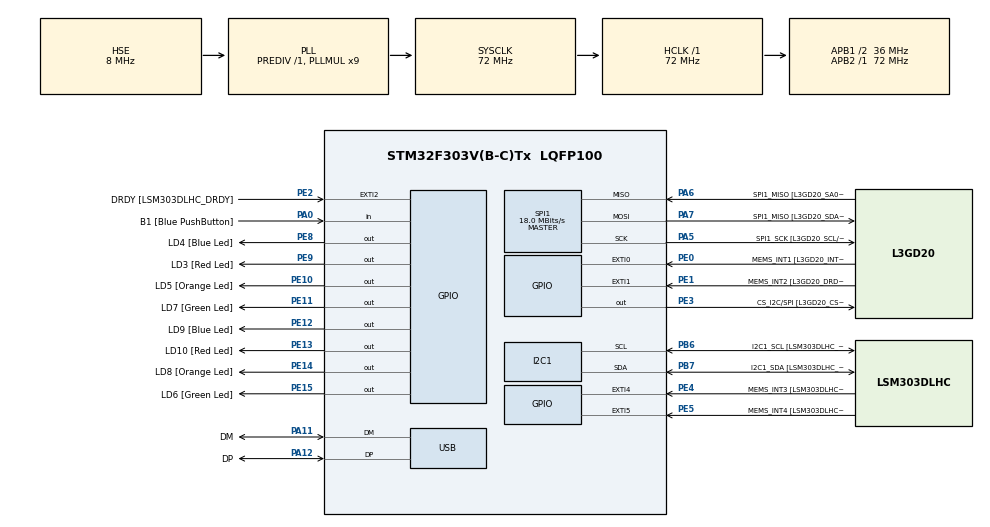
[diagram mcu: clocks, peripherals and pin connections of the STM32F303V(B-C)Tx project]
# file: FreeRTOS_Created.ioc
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FREERTOS.Tasks01=defaultTask,0,128,StartDefaultTask,Default,NULL,Dynamic,NULL,NULL
I2C1.Timing-I2C=0x2000090E
Mcu.Family=STM32F3
Mcu.Name=STM32F303V(B-C)Tx
Mcu.Package=LQFP100
NVIC.PriorityGroup=NVIC_PRIORITYGROUP_4
NVIC.TIM3_IRQn=true\:0\:0\:false\:false\:true\:false\:false\:true
NVIC.TimeBase=TIM3_IRQn
NVIC.TimeBaseIP=TIM3
PA0.GPIO_Label=B1 [Blue PushButton]
PA0.Signal=GPIO_Input
PA11.GPIO_Label=DM
PA11.Mode=Device
PA11.Signal=USB_DM
PA12.GPIO_Label=DP
PA12.Mode=Device
PA12.Signal=USB_DP
PA13.GPIO_Label=SWDIO
PA13.Mode=Serial_Wire
PA13.Signal=SYS_JTMS-SWDIO
PA14.GPIO_Label=SWCLK
PA14.Mode=Serial_Wire
PA14.Signal=SYS_JTCK-SWCLK
PA5.GPIO_Label=SPI1_SCK [L3GD20_SCL/SPC]
PA5.Mode=Full_Duplex_Master
PA5.Signal=SPI1_SCK
PA6.GPIO_Label=SPI1_MISO [L3GD20_SA0/SDO]
PA6.Mode=Full_Duplex_Master
PA6.Signal=SPI1_MISO
PA7.GPIO_Label=SPI1_MISO [L3GD20_SDA/SDI/SDO]
PA7.Mode=Full_Duplex_Master
PA7.Signal=SPI1_MOSI
PB3.GPIO_Label=SWO
PB3.Signal=SYS_JTDO-TRACESWO
PB6.GPIO_Label=I2C1_SCL [LSM303DLHC_SCL]
PB6.Mode=I2C
PB6.Signal=I2C1_SCL
PB7.GPIO_Label=I2C1_SDA [LSM303DLHC_SDA]
PB7.Mode=I2C
PB7.Signal=I2C1_SDA
PC14-OSC32_IN.GPIO_Label=OSC32_IN
PC14-OSC32_IN.Signal=RCC_OSC32_IN
PC15-OSC32_OUT.GPIO_Label=OSC32_OUT
PC15-OSC32_OUT.Signal=RCC_OSC32_OUT
PE0.GPIO_Label=MEMS_INT1 [L3GD20_INT1]
PE0.GPIO_ModeDefaultEXTI=GPIO_MODE_EVT_RISING
PE0.Signal=GPXTI0
PE1.GPIO_Label=MEMS_INT2 [L3GD20_DRDY/INT2]
PE1.GPIO_ModeDefaultEXTI=GPIO_MODE_EVT_RISING
PE1.Signal=GPXTI1
PE10.GPIO_Label=LD5 [Orange Led]
PE10.Signal=GPIO_Output
PE11.GPIO_Label=LD7 [Green Led]
PE11.Signal=GPIO_Output
PE12.GPIO_Label=LD9 [Blue Led]
PE12.Signal=GPIO_Output
PE13.GPIO_Label=LD10 [Red Led]
PE13.Signal=GPIO_Output
PE14.GPIO_Label=LD8 [Orange Led]
PE14.Signal=GPIO_Output
PE15.GPIO_Label=LD6 [Green Led]
PE15.Signal=GPIO_Output
PE2.GPIO_Label=DRDY [LSM303DLHC_DRDY]
PE2.GPIO_ModeDefaultEXTI=GPIO_MODE_EVT_RISING
PE2.Signal=GPXTI2
PE3.GPIO_Label=CS_I2C/SPI [L3GD20_CS_I2C/SPI]
PE3.Signal=GPIO_Output
PE4.GPIO_Label=MEMS_INT3 [LSM303DLHC_INT1]
PE4.GPIO_ModeDefaultEXTI=GPIO_MODE_EVT_RISING
PE4.Signal=GPXTI4
PE5.GPIO_Label=MEMS_INT4 [LSM303DLHC_INT2]
PE5.GPIO_ModeDefaultEXTI=GPIO_MODE_EVT_RISING
PE5.Signal=GPXTI5
PE8.GPIO_Label=LD4 [Blue Led]
PE8.Signal=GPIO_Output
PE9.GPIO_Label=LD3 [Red Led]
PE9.Signal=GPIO_Output
PF0-OSC_IN.GPIO_Label=OSC_IN
PF0-OSC_IN.Mode=HSE-External-Clock-Source
PF0-OSC_IN.Signal=RCC_OSC_IN
PF1-OSC_OUT.GPIO_Label=OSC_OUT
PF1-OSC_OUT.Signal=RCC_OSC_OUT
ProjectManager.HeapSize=0x800
ProjectManager.StackSize=0x800
ProjectManager.TargetToolchain=MDK-ARM V5.27
RCC.AHBFreq_Value=72000000
RCC.APB1CLKDivider=RCC_HCLK_DIV2
RCC.APB1Freq_Value=36000000
RCC.APB1TimFreq_Value=72000000
RCC.APB2Freq_Value=72000000
RCC.APB2TimFreq_Value=72000000
RCC.CortexFreq_Value=72000000
RCC.HCLKFreq_Value=72000000
RCC.HSE_VALUE=8000000
RCC.HSI_VALUE=8000000
RCC.LSE_VALUE=32768
RCC.PLLMUL=RCC_PLL_MUL9
RCC.PRESCALERUSB=RCC_USBCLKSOURCE_PLL_DIV1_5
RCC.SYSCLKFreq_VALUE=72000000
RCC.SYSCLKSourceVirtual=RCC_SYSCLKSOURCE_PLLCLK
RCC.USBFreq_Value=48000000
SPI1.BaudRatePrescaler=SPI_BAUDRATEPRESCALER_4
SPI1.BaudRatePrescaler-Full_Duplex_Master=SPI_BAUDRATEPRESCALER_2
SPI1.CalculateBaudRate=18.0 MBits/s
SPI1.CalculateBaudRate-Full_Duplex_Master=24.0 MBits/s
SPI1.Direction=SPI_DIRECTION_2LINES
SPI1.Mode=SPI_MODE_MASTER
SPI1.Mode-Full_Duplex_Master=SPI_MODE_MASTER
SPI1.VirtualType=VM_MASTER
VP_FREERTOS_VS_CMSIS_V1.Mode=CMSIS_V1
VP_SYS_VS_tim3.Mode=TIM3
board=STM32F3DISCOVERY

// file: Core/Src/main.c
/* USER CODE BEGIN Header */
/**
  ******************************************************************************
  * @file           : main.c
  * @brief          : Main program body
  ******************************************************************************
  * @attention
  *
  * <h2><center>&copy; Copyright (c) 2021 STMicroelectronics.
  * All rights reserved.</center></h2>
  *
  * This software component is licensed by ST under Ultimate Liberty license
  * SLA0044, the "License"; You may not use this file except in compliance with
  * the License. You may obtain a copy of the License at:
  *                             www.st.com/SLA0044
  *
  ******************************************************************************
  */
/* USER CODE END Header */
#include "main.h"

/* USER CODE BEGIN Includes */

//====================================================================================================

#include "FreeRTOS.h"
#include "task.h"

// ENTER TIM8 FOR FreeRTOS !!!!!! CubeMX -> SYS

//====================================================================================================

/* USER CODE END Includes */

I2C_HandleTypeDef hi2c1;

SPI_HandleTypeDef hspi1;

PCD_HandleTypeDef hpcd_USB_FS;

void SystemClock_Config(void);
static void MX_GPIO_Init(void);
static void MX_I2C1_Init(void);
static void MX_SPI1_Init(void);
static void MX_USB_PCD_Init(void);
/* USER CODE BEGIN PFP */

//====================================================================================================

// Blink LED_one
void vTaskCode_ONE( void * pvParameters );

// Blink LED_two
void vTaskCode_TWO( void * pvParameters );

//====================================================================================================

/* USER CODE END PFP */

int main(void)
{

  /* MCU Configuration--------------------------------------------------------*/

  /* Reset of all peripherals, Initializes the Flash interface and the Systick. */
  HAL_Init();

  /* Configure the system clock */
  SystemClock_Config();

  /* Initialize all configured peripherals */
  MX_GPIO_Init();
  MX_I2C1_Init();
  MX_SPI1_Init();
  MX_USB_PCD_Init();

  /* Infinite loop */
  /* USER CODE BEGIN WHILE */

  //=========================================================================================================

	BaseType_t xReturned_ONE = NULL;
	BaseType_t xReturned_TWO = NULL;

    /*========== Create the task, storing the handle. =================*/
    xReturned_ONE = xTaskCreate(
                    vTaskCode_ONE,       /* Function that implements the task. */
                    "ONE",          /* Text name for the task. */
                    50*4,      /* Stack size in words, not bytes. */
                    NULL,    /* Parameter passed into the task. */
                    tskIDLE_PRIORITY,/* Priority at which the task is created. */
                    NULL );      /* Used to pass out the created task's handle. */

    /*========= Create the task, storing the handle. =================*/
    xReturned_TWO = xTaskCreate(
                    vTaskCode_TWO,       /* Function that implements the task. */
                    "TWO",          /* Text name for the task. */
                    50*4,      /* Stack size in words, not bytes. */
                    NULL,    /* Parameter passed into the task. */
                    tskIDLE_PRIORITY,/* Priority at which the task is created. */
                    NULL );      /* Used to pass out the created task's handle. */

	//==  RUN TASKs ================================================
	vTaskStartScheduler();

  //=========================================================================================================

  while (1)
  {
    /* USER CODE END WHILE */

  }
}

void SystemClock_Config(void)
{
  RCC_OscInitTypeDef RCC_OscInitStruct = {0};
  RCC_ClkInitTypeDef RCC_ClkInitStruct = {0};
  RCC_PeriphCLKInitTypeDef PeriphClkInit = {0};

  /** Initializes the RCC Oscillators according to the specified parameters
  * in the RCC_OscInitTypeDef structure.
  */
  RCC_OscInitStruct.OscillatorType = RCC_OSCILLATORTYPE_HSI|RCC_OSCILLATORTYPE_HSE;
  RCC_OscInitStruct.HSEState = RCC_HSE_BYPASS;
  RCC_OscInitStruct.HSEPredivValue = RCC_HSE_PREDIV_DIV1;
  RCC_OscInitStruct.HSIState = RCC_HSI_ON;
  RCC_OscInitStruct.HSICalibrationValue = RCC_HSICALIBRATION_DEFAULT;
  RCC_OscInitStruct.PLL.PLLState = RCC_PLL_ON;
  RCC_OscInitStruct.PLL.PLLSource = RCC_PLLSOURCE_HSE;
  RCC_OscInitStruct.PLL.PLLMUL = RCC_PLL_MUL9;
  if (HAL_RCC_OscConfig(&RCC_OscInitStruct) != HAL_OK)
  {
    Error_Handler();
  }
  /** Initializes the CPU, AHB and APB buses clocks
  */
  RCC_ClkInitStruct.ClockType = RCC_CLOCKTYPE_HCLK|RCC_CLOCKTYPE_SYSCLK
                              |RCC_CLOCKTYPE_PCLK1|RCC_CLOCKTYPE_PCLK2;
  RCC_ClkInitStruct.SYSCLKSource = RCC_SYSCLKSOURCE_PLLCLK;
  RCC_ClkInitStruct.AHBCLKDivider = RCC_SYSCLK_DIV1;
  RCC_ClkInitStruct.APB1CLKDivider = RCC_HCLK_DIV2;
  RCC_ClkInitStruct.APB2CLKDivider = RCC_HCLK_DIV1;

  if (HAL_RCC_ClockConfig(&RCC_ClkInitStruct, FLASH_LATENCY_2) != HAL_OK)
  {
    Error_Handler();
  }
  PeriphClkInit.PeriphClockSelection = RCC_PERIPHCLK_USB|RCC_PERIPHCLK_I2C1;
  PeriphClkInit.I2c1ClockSelection = RCC_I2C1CLKSOURCE_HSI;
  PeriphClkInit.USBClockSelection = RCC_USBCLKSOURCE_PLL_DIV1_5;
  if (HAL_RCCEx_PeriphCLKConfig(&PeriphClkInit) != HAL_OK)
  {
    Error_Handler();
  }
}

static void MX_I2C1_Init(void)
{

  hi2c1.Instance = I2C1;
  hi2c1.Init.Timing = 0x2000090E;
  hi2c1.Init.OwnAddress1 = 0;
  hi2c1.Init.AddressingMode = I2C_ADDRESSINGMODE_7BIT;
  hi2c1.Init.DualAddressMode = I2C_DUALADDRESS_DISABLE;
  hi2c1.Init.OwnAddress2 = 0;
  hi2c1.Init.OwnAddress2Masks = I2C_OA2_NOMASK;
  hi2c1.Init.GeneralCallMode = I2C_GENERALCALL_DISABLE;
  hi2c1.Init.NoStretchMode = I2C_NOSTRETCH_DISABLE;
  if (HAL_I2C_Init(&hi2c1) != HAL_OK)
  {
    Error_Handler();
  }
  /** Configure Analogue filter
  */
  if (HAL_I2CEx_ConfigAnalogFilter(&hi2c1, I2C_ANALOGFILTER_ENABLE) != HAL_OK)
  {
    Error_Handler();
  }
  /** Configure Digital filter
  */
  if (HAL_I2CEx_ConfigDigitalFilter(&hi2c1, 0) != HAL_OK)
  {
    Error_Handler();
  }

}

static void MX_SPI1_Init(void)
{

  /* SPI1 parameter configuration*/
  hspi1.Instance = SPI1;
  hspi1.Init.Mode = SPI_MODE_MASTER;
  hspi1.Init.Direction = SPI_DIRECTION_2LINES;
  hspi1.Init.DataSize = SPI_DATASIZE_4BIT;
  hspi1.Init.CLKPolarity = SPI_POLARITY_LOW;
  hspi1.Init.CLKPhase = SPI_PHASE_1EDGE;
  hspi1.Init.NSS = SPI_NSS_SOFT;
  hspi1.Init.BaudRatePrescaler = SPI_BAUDRATEPRESCALER_4;
  hspi1.Init.FirstBit = SPI_FIRSTBIT_MSB;
  hspi1.Init.TIMode = SPI_TIMODE_DISABLE;
  hspi1.Init.CRCCalculation = SPI_CRCCALCULATION_DISABLE;
  hspi1.Init.CRCPolynomial = 7;
  hspi1.Init.CRCLength = SPI_CRC_LENGTH_DATASIZE;
  hspi1.Init.NSSPMode = SPI_NSS_PULSE_ENABLE;
  if (HAL_SPI_Init(&hspi1) != HAL_OK)
  {
    Error_Handler();
  }

}

static void MX_USB_PCD_Init(void)
{

  hpcd_USB_FS.Instance = USB;
  hpcd_USB_FS.Init.dev_endpoints = 8;
  hpcd_USB_FS.Init.speed = PCD_SPEED_FULL;
  hpcd_USB_FS.Init.phy_itface = PCD_PHY_EMBEDDED;
  hpcd_USB_FS.Init.low_power_enable = DISABLE;
  hpcd_USB_FS.Init.battery_charging_enable = DISABLE;
  if (HAL_PCD_Init(&hpcd_USB_FS) != HAL_OK)
  {
    Error_Handler();
  }

}

static void MX_GPIO_Init(void)
{
  GPIO_InitTypeDef GPIO_InitStruct = {0};

  /* GPIO Ports Clock Enable */
  __HAL_RCC_GPIOE_CLK_ENABLE();
  __HAL_RCC_GPIOC_CLK_ENABLE();
  __HAL_RCC_GPIOF_CLK_ENABLE();
  __HAL_RCC_GPIOA_CLK_ENABLE();
  __HAL_RCC_GPIOB_CLK_ENABLE();

  /*Configure GPIO pin Output Level */
  HAL_GPIO_WritePin(GPIOE, CS_I2C_SPI_Pin|LD4_Pin|LD3_Pin|LD5_Pin
                          |LD7_Pin|LD9_Pin|LD10_Pin|LD8_Pin
                          |LD6_Pin, GPIO_PIN_RESET);

  /*Configure GPIO pins : DRDY_Pin MEMS_INT3_Pin MEMS_INT4_Pin MEMS_INT1_Pin
                           MEMS_INT2_Pin */
  GPIO_InitStruct.Pin = DRDY_Pin|MEMS_INT3_Pin|MEMS_INT4_Pin|MEMS_INT1_Pin
                          |MEMS_INT2_Pin;
  GPIO_InitStruct.Mode = GPIO_MODE_EVT_RISING;
  GPIO_InitStruct.Pull = GPIO_NOPULL;
  HAL_GPIO_Init(GPIOE, &GPIO_InitStruct);

  /*Configure GPIO pins : CS_I2C_SPI_Pin LD4_Pin LD3_Pin LD5_Pin
                           LD7_Pin LD9_Pin LD10_Pin LD8_Pin
                           LD6_Pin */
  GPIO_InitStruct.Pin = CS_I2C_SPI_Pin|LD4_Pin|LD3_Pin|LD5_Pin
                          |LD7_Pin|LD9_Pin|LD10_Pin|LD8_Pin
                          |LD6_Pin;
  GPIO_InitStruct.Mode = GPIO_MODE_OUTPUT_PP;
  GPIO_InitStruct.Pull = GPIO_NOPULL;
  GPIO_InitStruct.Speed = GPIO_SPEED_FREQ_LOW;
  HAL_GPIO_Init(GPIOE, &GPIO_InitStruct);

  /*Configure GPIO pin : B1_Pin */
  GPIO_InitStruct.Pin = B1_Pin;
  GPIO_InitStruct.Mode = GPIO_MODE_INPUT;
  GPIO_InitStruct.Pull = GPIO_NOPULL;
  HAL_GPIO_Init(B1_GPIO_Port, &GPIO_InitStruct);

}

/* USER CODE BEGIN 4 */

//====================================================================================================

void vTaskCode_ONE( void * pvParameters )
{
    for( ;; )
    {
        HAL_GPIO_TogglePin( LD4_GPIO_Port, LD4_Pin );
		vTaskDelay( 2000 / portTICK_PERIOD_MS );
    }

	//vTaskDelete( NULL );
}

void vTaskCode_TWO( void * pvParameters )
{
    for( ;; )
    {
        HAL_GPIO_TogglePin( LD6_GPIO_Port, LD6_Pin );
		vTaskDelay( 100 / portTICK_PERIOD_MS );
    }

	//vTaskDelete( NULL );
}

//====================================================================================================

/* USER CODE END 4 */

 /**
  * @brief  Period elapsed callback in non blocking mode
  * @note   This function is called  when TIM3 interrupt took place, inside
  * HAL_TIM_IRQHandler(). It makes a direct call to HAL_IncTick() to increment
  * a global variable "uwTick" used as application time base.
  * @param  htim : TIM handle
  * @retval None
  */
void HAL_TIM_PeriodElapsedCallback(TIM_HandleTypeDef *htim)
{
  if (htim->Instance == TIM3) {
    HAL_IncTick();
  }
}

void Error_Handler(void)
{
  __disable_irq();
  while (1)
  {
  }
}

/************************ (C) COPYRIGHT STMicroelectronics *****END OF FILE****/
